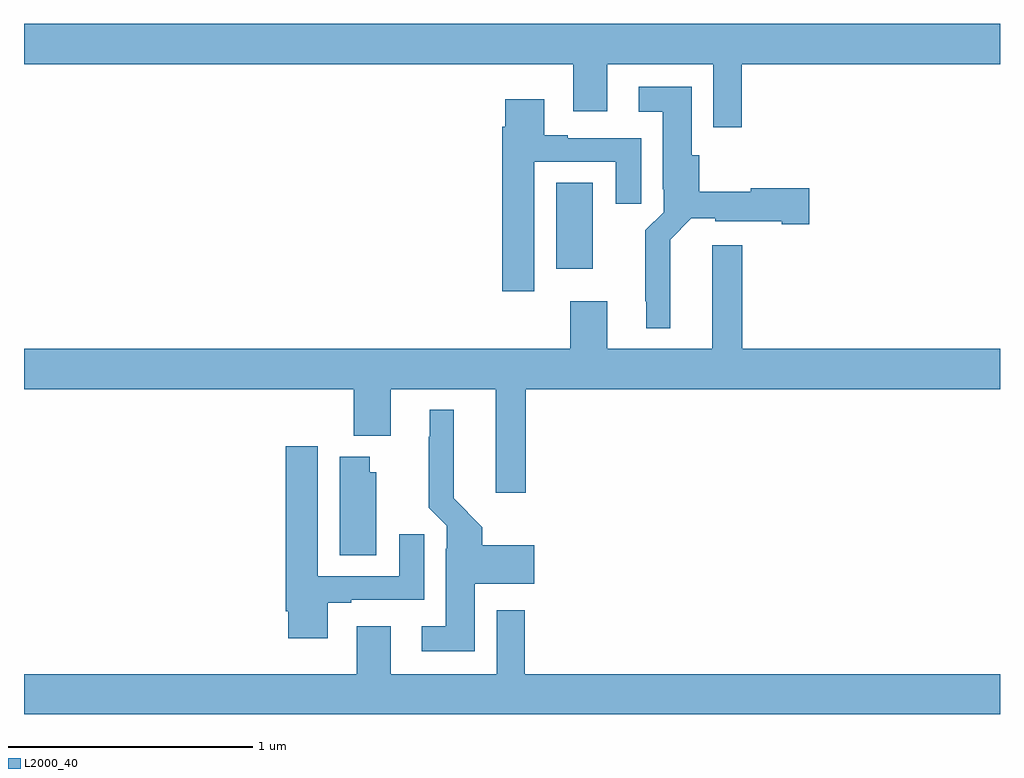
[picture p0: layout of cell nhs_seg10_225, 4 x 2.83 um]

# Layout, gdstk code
import gdstk
lib = gdstk.Library(unit=1e-6, precision=1e-09)
def R(c, l, rs):  # rectangles x0, y0, x1, y1
    for r in rs: c.add(gdstk.rectangle(r[:2], r[2:], *l))
def P(c, l, *ps):  # polygons
    for p in ps: c.add(gdstk.Polygon(p, *l))
L2000_40 = (2000, 40)

nhs_seg10_225 = lib.new_cell('nhs_seg10_225')
R(nhs_seg10_225, L2000_40, [(123.182,1300.809,123.331,1301.162)])
P(nhs_seg10_225, L2000_40, [(123.941,1301.648),(125,1301.648),(125,1301.812),(121,1301.812),(121,1301.648),(123.251,1301.648),(123.251,1301.454),(123.391,1301.454),(123.391,1301.648),(123.825,1301.648),(123.825,1301.388),(123.941,1301.388)],
  [(123.649,1300.928),(123.735,1301.015),(123.834,1301.015),(123.834,1301.003),(124.106,1301.003),(124.106,1300.991),(124.219,1300.991),(124.219,1301.138),(123.978,1301.138),(123.978,1301.125),(123.767,1301.125),(123.767,1301.274),(123.736,1301.274),(123.736,1301.554),(123.519,1301.554),(123.519,1301.453),(123.617,1301.453),(123.617,1301.134),(123.621,1301.134),(123.621,1301.04),(123.547,1300.966),(123.547,1300.675),(123.551,1300.675),(123.551,1300.565),(123.649,1300.565)],
  [(123.091,1301.247),(123.425,1301.247),(123.425,1301.076),(123.529,1301.076),(123.529,1301.343),(123.229,1301.343),(123.229,1301.356),(123.133,1301.356),(123.133,1301.503),(122.972,1301.503),(122.972,1301.39),(122.96,1301.39),(122.96,1300.716),(123.091,1300.716)],
  [(123.056,1300.316),(125,1300.316),(125,1300.48),(123.944,1300.48),(123.944,1300.906),(123.821,1300.906),(123.821,1300.48),(123.391,1300.48),(123.391,1300.675),(123.239,1300.675),(123.239,1300.48),(121,1300.48),(121,1300.316),(122.351,1300.316),(122.351,1300.124),(122.503,1300.124),(122.503,1300.316),(122.933,1300.316),(122.933,1299.891),(123.056,1299.891)],
  [(122.848,1299.518),(123.091,1299.518),(123.091,1299.676),(122.879,1299.676),(122.879,1299.75),(122.761,1299.868),(122.761,1300.231),(122.663,1300.231),(122.663,1300.121),(122.659,1300.121),(122.659,1299.83),(122.733,1299.756),(122.733,1299.662),(122.729,1299.662),(122.729,1299.343),(122.631,1299.343),(122.631,1299.242),(122.848,1299.242)],
  [(122.245,1299.441),(122.341,1299.441),(122.341,1299.453),(122.641,1299.453),(122.641,1299.721),(122.537,1299.721),(122.537,1299.549),(122.203,1299.549),(122.203,1300.081),(122.072,1300.081),(122.072,1299.406),(122.084,1299.406),(122.084,1299.294),(122.245,1299.294)],
  [(122.443,1299.975),(122.416,1299.975),(122.416,1300.039),(122.294,1300.039),(122.294,1299.634),(122.443,1299.634)],
  [(125,1299.148),(123.053,1299.148),(123.053,1299.409),(122.937,1299.409),(122.937,1299.148),(122.503,1299.148),(122.503,1299.343),(122.363,1299.343),(122.363,1299.148),(121,1299.148),(121,1298.984),(125,1298.984)])

lib.write_gds('nhs_seg10_225.gds')
